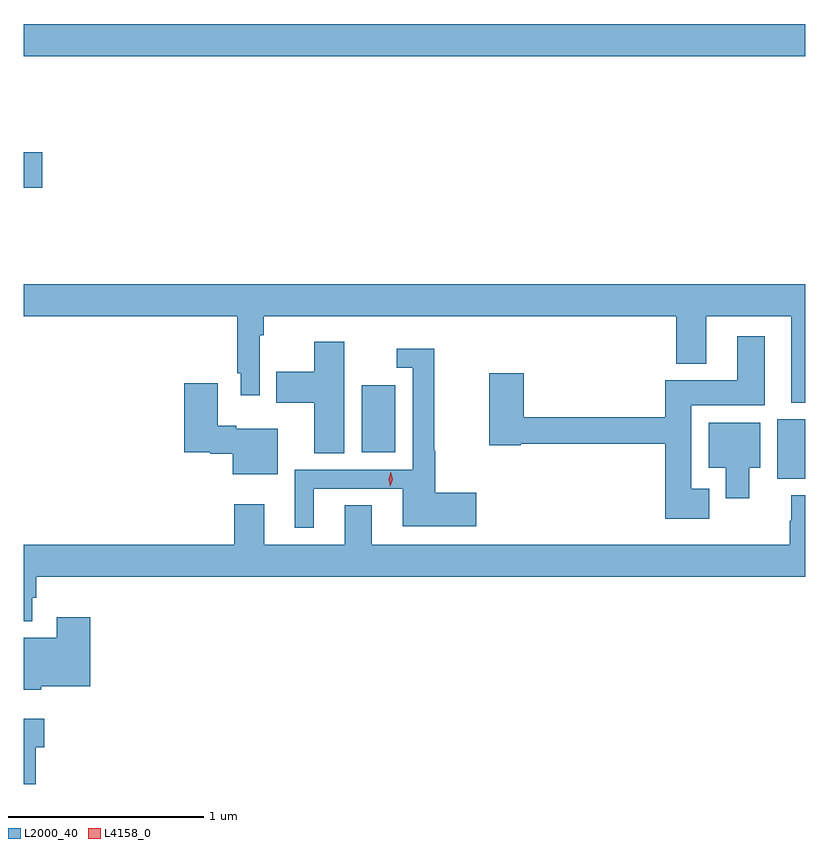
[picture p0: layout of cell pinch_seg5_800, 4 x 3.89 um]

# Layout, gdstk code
import gdstk
lib = gdstk.Library(unit=1e-6, precision=1e-09)
def R(c, l, rs):  # rectangles x0, y0, x1, y1
    for r in rs: c.add(gdstk.rectangle(r[:2], r[2:], *l))
def P(c, l, *ps):  # polygons
    for p in ps: c.add(gdstk.Polygon(p, *l))
L2000_40 = (2000, 40)
L4158_0 = (4158, 0)

pinch_seg5_800 = lib.new_cell('pinch_seg5_800')
R(pinch_seg5_800, L2000_40, [(782.861,897.221,783.005,897.526), (780.734,897.356,780.907,897.7), (779.005,898.709,779.101,898.892), (779.005,899.384,783.005,899.548)])
P(pinch_seg5_800, L2000_40, [(783.005,898.216),(779.005,898.216),(779.005,898.052),(780.097,898.052),(780.097,897.76),(780.117,897.76),(780.117,897.648),(780.213,897.648),(780.213,897.956),(780.233,897.956),(780.233,898.052),(782.345,898.052),(782.345,897.809),(782.497,897.809),(782.497,898.052),(782.933,898.052),(782.933,897.611),(783.005,897.611)],
  [(782.512,897.169),(782.422,897.169),(782.422,897.596),(782.797,897.596),(782.797,897.949),(782.657,897.949),(782.657,897.724),(782.288,897.724),(782.288,897.536),(781.565,897.536),(781.565,897.76),(781.387,897.76),(781.387,897.392),(781.548,897.392),(781.548,897.4),(782.288,897.4),(782.288,897.017),(782.512,897.017)],
  [(780.646,897.922),(780.491,897.922),(780.491,897.769),(780.298,897.769),(780.298,897.611),(780.491,897.611),(780.491,897.352),(780.646,897.352)],
  [(780.49,897.171),(780.944,897.171),(780.944,896.978),(781.321,896.978),(781.321,897.149),(781.112,897.149),(781.112,897.364),(781.105,897.364),(781.105,897.886),(780.915,897.886),(780.915,897.789),(780.996,897.789),(780.996,897.267),(780.392,897.267),(780.392,896.97),(780.49,896.97)],
  [(780.304,897.478),(780.094,897.478),(780.094,897.491),(779.998,897.491),(779.998,897.709),(779.828,897.709),(779.828,897.356),(779.961,897.356),(779.961,897.349),(780.074,897.349),(780.074,897.245),(780.304,897.245)],
  [(782.719,897.278),(782.773,897.278),(782.773,897.508),(782.51,897.508),(782.51,897.278),(782.597,897.278),(782.597,897.12),(782.719,897.12)],
  [(779.049,896.613),(779.069,896.613),(779.069,896.72),(783.005,896.72),(783.005,897.136),(782.933,897.136),(782.933,897.005),(782.926,897.005),(782.926,896.884),(780.787,896.884),(780.787,897.086),(780.647,897.086),(780.647,896.884),(780.235,896.884),(780.235,897.091),(780.083,897.091),(780.083,896.884),(779.005,896.884),(779.005,896.492),(779.049,896.492)],
  [(779.094,896.159),(779.345,896.159),(779.345,896.512),(779.174,896.512),(779.174,896.407),(779.005,896.407),(779.005,896.141),(779.094,896.141)],
  [(779.066,895.846),(779.11,895.846),(779.11,895.993),(779.005,895.993),(779.005,895.659),(779.066,895.659)])
P(pinch_seg5_800, L4158_0, [(780.881,897.182),(780.881,897.182),(780.873,897.219),(780.884,897.254),(780.884,897.255),(780.884,897.254),(780.893,897.218),(780.881,897.182)])

lib.write_gds('pinch_seg5_800.gds')
